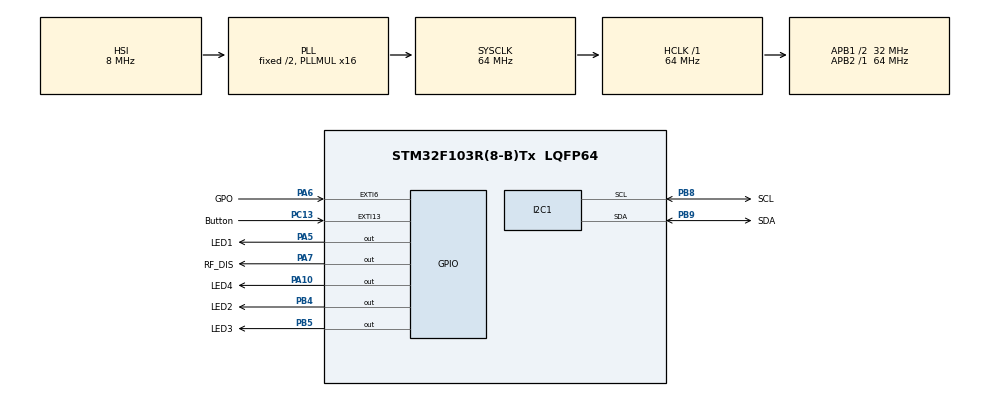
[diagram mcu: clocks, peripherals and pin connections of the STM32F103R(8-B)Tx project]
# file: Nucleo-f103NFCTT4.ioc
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I2C1.I2C_Mode=I2C_Fast
Mcu.Family=STM32F1
Mcu.Name=STM32F103R(8-B)Tx
Mcu.Package=LQFP64
NVIC.EXTI15_10_IRQn=true\:0\:0\:false\:false\:true\:true
NVIC.EXTI9_5_IRQn=true\:3\:0\:true\:false\:true\:true
NVIC.PriorityGroup=NVIC_PRIORITYGROUP_4
NVIC.TIM3_IRQn=true\:0\:0\:false\:false\:true\:true
PA10.GPIO_Label=LED4
PA10.Signal=GPIO_Output
PA13.Mode=JTAG_4_pins
PA13.Signal=SYS_JTMS-SWDIO
PA14.Mode=JTAG_4_pins
PA14.Signal=SYS_JTCK-SWCLK
PA15.Mode=JTAG_4_pins
PA15.Signal=SYS_JTDI
PA5.GPIO_Label=LED1
PA5.Signal=GPIO_Output
PA6.GPIO_Label=GPO
PA6.GPIO_ModeDefaultEXTI=GPIO_MODE_IT_FALLING
PA6.Signal=GPXTI6
PA7.GPIO_Label=RF_DIS
PA7.Signal=GPIO_Output
PB3.Mode=JTAG_4_pins
PB3.Signal=SYS_JTDO-TRACESWO
PB4.GPIO_Label=LED2
PB4.Signal=GPIO_Output
PB5.GPIO_Label=LED3
PB5.Signal=GPIO_Output
PB8.GPIO_Label=SCL
PB8.Mode=I2C
PB8.Signal=I2C1_SCL
PB9.GPIO_Label=SDA
PB9.Mode=I2C
PB9.Signal=I2C1_SDA
PC13-TAMPER-RTC.GPIO_Label=Button
PC13-TAMPER-RTC.Signal=GPXTI13
ProjectManager.HeapSize=0x200
ProjectManager.StackSize=0x400
ProjectManager.TargetToolchain=SW4STM32
RCC.AHBFreq_Value=64000000
RCC.APB1CLKDivider=RCC_HCLK_DIV2
RCC.APB1Freq_Value=32000000
RCC.APB1TimFreq_Value=64000000
RCC.APB2Freq_Value=64000000
RCC.APB2TimFreq_Value=64000000
RCC.HCLKFreq_Value=64000000
RCC.PLLMUL=RCC_PLL_MUL16
RCC.SYSCLKFreq_VALUE=64000000
RCC.SYSCLKSource=RCC_SYSCLKSOURCE_PLLCLK
RCC.USBFreq_Value=64000000
TIM3.Period=1999
TIM3.Prescaler=9999
VP_TIM3_VS_ClockSourceITR.Mode=TriggerSource_ITR2
board=Nucleo-f103NFCTT4

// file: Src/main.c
/**
  ******************************************************************************
  * File Name          : main.c
  * Description        : Main program body
  ******************************************************************************
  ** This notice applies to any and all portions of this file
  * that are not between comment pairs USER CODE BEGIN and
  * USER CODE END. Other portions of this file, whether
  * inserted by the user or by software development tools
  * are owned by their respective copyright owners.
  *
  * COPYRIGHT(c) 2017 STMicroelectronics
  *
  * Redistribution and use in source and binary forms, with or without modification,
  * are permitted provided that the following conditions are met:
  *   1. Redistributions of source code must retain the above copyright notice,
  *      this list of conditions and the following disclaimer.
  *   2. Redistributions in binary form must reproduce the above copyright notice,
  *      this list of conditions and the following disclaimer in the documentation
  *      and/or other materials provided with the distribution.
  *   3. Neither the name of STMicroelectronics nor the names of its contributors
  *      may be used to endorse or promote products derived from this software
  *      without specific prior written permission.
  *
  * THIS SOFTWARE IS PROVIDED BY THE COPYRIGHT HOLDERS AND CONTRIBUTORS "AS IS"
  * AND ANY EXPRESS OR IMPLIED WARRANTIES, INCLUDING, BUT NOT LIMITED TO, THE
  * IMPLIED WARRANTIES OF MERCHANTABILITY AND FITNESS FOR A PARTICULAR PURPOSE ARE
  * DISCLAIMED. IN NO EVENT SHALL THE COPYRIGHT HOLDER OR CONTRIBUTORS BE LIABLE
  * FOR ANY DIRECT, INDIRECT, INCIDENTAL, SPECIAL, EXEMPLARY, OR CONSEQUENTIAL
  * DAMAGES (INCLUDING, BUT NOT LIMITED TO, PROCUREMENT OF SUBSTITUTE GOODS OR
  * SERVICES; LOSS OF USE, DATA, OR PROFITS; OR BUSINESS INTERRUPTION) HOWEVER
  * CAUSED AND ON ANY THEORY OF LIABILITY, WHETHER IN CONTRACT, STRICT LIABILITY,
  * OR TORT (INCLUDING NEGLIGENCE OR OTHERWISE) ARISING IN ANY WAY OUT OF THE USE
  * OF THIS SOFTWARE, EVEN IF ADVISED OF THE POSSIBILITY OF SUCH DAMAGE.
  *
  ******************************************************************************
  */

#include "main.h"
#include "stm32f1xx_hal.h"

I2C_HandleTypeDef hi2c1;

TIM_HandleTypeDef htim3;

/* USER CODE BEGIN PV */
/* Private variables ---------------------------------------------------------*/
extern uint8_t uSynchroMode;
extern uint8_t GPO_Low;
uint16_t counter;
uint16_t last_count;
uint16_t led_effect;
sURI_Info URI;
sAARInfo App;
sSMSInfo sms;
sGeoInfo geo;
/* USER CODE END PV */

void SystemClock_Config(void);
static void MX_GPIO_Init(void);
static void MX_I2C1_Init(void);
static void MX_TIM3_Init(void);

/* USER CODE BEGIN PFP */
/* Private function prototypes -----------------------------------------------*/
void M24SR_I2CInit(void);
void HAL_GPIO_EXTI_Callback(uint16_t GPIO_Pin);
void M24SR_Program(uint16_t counter);
void HAL_TIM_PeriodElapsedCallback(TIM_HandleTypeDef *htim);
/* USER CODE END PFP */

int main(void)
{

  /* MCU Configuration----------------------------------------------------------*/

  /* Reset of all peripherals, Initializes the Flash interface and the Systick. */
  HAL_Init();

  /* Configure the system clock */
  SystemClock_Config();

  /* Initialize all configured peripherals */
  MX_GPIO_Init();
  MX_I2C1_Init();
  MX_TIM3_Init();

  /* USER CODE BEGIN 2 */
  HAL_TIM_Base_Start_IT(&htim3);

  while (TT4_Init() != SUCCESS);

  counter=0;
  last_count=-1;
  led_effect=0;

  /* USER CODE END 2 */

  /* Infinite loop */
  /* USER CODE BEGIN WHILE */
  while (1)
  {
	  if(counter!=last_count){
		  HAL_GPIO_TogglePin(LED1_GPIO_Port,LED1_Pin);
		  last_count=counter;
		  M24SR_Program(counter);
	  }
  /* USER CODE END WHILE */

  }

}

/** System Clock Configuration
*/
void SystemClock_Config(void)
{

  RCC_OscInitTypeDef RCC_OscInitStruct;
  RCC_ClkInitTypeDef RCC_ClkInitStruct;

    /**Initializes the CPU, AHB and APB busses clocks
    */
  RCC_OscInitStruct.OscillatorType = RCC_OSCILLATORTYPE_HSI;
  RCC_OscInitStruct.HSIState = RCC_HSI_ON;
  RCC_OscInitStruct.HSICalibrationValue = 16;
  RCC_OscInitStruct.PLL.PLLState = RCC_PLL_ON;
  RCC_OscInitStruct.PLL.PLLSource = RCC_PLLSOURCE_HSI_DIV2;
  RCC_OscInitStruct.PLL.PLLMUL = RCC_PLL_MUL16;
  if (HAL_RCC_OscConfig(&RCC_OscInitStruct) != HAL_OK)
  {
    _Error_Handler(__FILE__, __LINE__);
  }

    /**Initializes the CPU, AHB and APB busses clocks
    */
  RCC_ClkInitStruct.ClockType = RCC_CLOCKTYPE_HCLK|RCC_CLOCKTYPE_SYSCLK
                              |RCC_CLOCKTYPE_PCLK1|RCC_CLOCKTYPE_PCLK2;
  RCC_ClkInitStruct.SYSCLKSource = RCC_SYSCLKSOURCE_PLLCLK;
  RCC_ClkInitStruct.AHBCLKDivider = RCC_SYSCLK_DIV1;
  RCC_ClkInitStruct.APB1CLKDivider = RCC_HCLK_DIV2;
  RCC_ClkInitStruct.APB2CLKDivider = RCC_HCLK_DIV1;

  if (HAL_RCC_ClockConfig(&RCC_ClkInitStruct, FLASH_LATENCY_2) != HAL_OK)
  {
    _Error_Handler(__FILE__, __LINE__);
  }

    /**Configure the Systick interrupt time
    */
  HAL_SYSTICK_Config(HAL_RCC_GetHCLKFreq()/1000);

    /**Configure the Systick
    */
  HAL_SYSTICK_CLKSourceConfig(SYSTICK_CLKSOURCE_HCLK);

  /* SysTick_IRQn interrupt configuration */
  HAL_NVIC_SetPriority(SysTick_IRQn, 0, 0);
}

/* I2C1 init function */
static void MX_I2C1_Init(void)
{

  hi2c1.Instance = I2C1;
  hi2c1.Init.ClockSpeed = 400000;
  hi2c1.Init.DutyCycle = I2C_DUTYCYCLE_2;
  hi2c1.Init.OwnAddress1 = 0;
  hi2c1.Init.AddressingMode = I2C_ADDRESSINGMODE_7BIT;
  hi2c1.Init.DualAddressMode = I2C_DUALADDRESS_DISABLE;
  hi2c1.Init.OwnAddress2 = 0;
  hi2c1.Init.GeneralCallMode = I2C_GENERALCALL_DISABLE;
  hi2c1.Init.NoStretchMode = I2C_NOSTRETCH_DISABLE;
  if (HAL_I2C_Init(&hi2c1) != HAL_OK)
  {
    _Error_Handler(__FILE__, __LINE__);
  }

}

/* TIM3 init function */
static void MX_TIM3_Init(void)
{

  TIM_SlaveConfigTypeDef sSlaveConfig;
  TIM_MasterConfigTypeDef sMasterConfig;

  htim3.Instance = TIM3;
  htim3.Init.Prescaler = 9999;
  htim3.Init.CounterMode = TIM_COUNTERMODE_UP;
  htim3.Init.Period = 1999;
  htim3.Init.ClockDivision = TIM_CLOCKDIVISION_DIV1;
  htim3.Init.AutoReloadPreload = TIM_AUTORELOAD_PRELOAD_DISABLE;
  if (HAL_TIM_Base_Init(&htim3) != HAL_OK)
  {
    _Error_Handler(__FILE__, __LINE__);
  }

  sSlaveConfig.SlaveMode = TIM_SLAVEMODE_DISABLE;
  sSlaveConfig.InputTrigger = TIM_TS_ITR2;
  if (HAL_TIM_SlaveConfigSynchronization(&htim3, &sSlaveConfig) != HAL_OK)
  {
    _Error_Handler(__FILE__, __LINE__);
  }

  sMasterConfig.MasterOutputTrigger = TIM_TRGO_RESET;
  sMasterConfig.MasterSlaveMode = TIM_MASTERSLAVEMODE_DISABLE;
  if (HAL_TIMEx_MasterConfigSynchronization(&htim3, &sMasterConfig) != HAL_OK)
  {
    _Error_Handler(__FILE__, __LINE__);
  }

}

/** Configure pins as
        * Analog
        * Input
        * Output
        * EVENT_OUT
        * EXTI
*/
static void MX_GPIO_Init(void)
{

  GPIO_InitTypeDef GPIO_InitStruct;

  /* GPIO Ports Clock Enable */
  __HAL_RCC_GPIOC_CLK_ENABLE();
  __HAL_RCC_GPIOA_CLK_ENABLE();
  __HAL_RCC_GPIOB_CLK_ENABLE();

  /*Configure GPIO pin Output Level */
  HAL_GPIO_WritePin(GPIOA, LED1_Pin|RF_DIS_Pin|LED4_Pin, GPIO_PIN_RESET);

  /*Configure GPIO pin Output Level */
  HAL_GPIO_WritePin(GPIOB, LED2_Pin|LED3_Pin, GPIO_PIN_RESET);

  /*Configure GPIO pin : Button_Pin */
  GPIO_InitStruct.Pin = Button_Pin;
  GPIO_InitStruct.Mode = GPIO_MODE_IT_RISING;
  GPIO_InitStruct.Pull = GPIO_NOPULL;
  HAL_GPIO_Init(Button_GPIO_Port, &GPIO_InitStruct);

  /*Configure GPIO pins : LED1_Pin RF_DIS_Pin LED4_Pin */
  GPIO_InitStruct.Pin = LED1_Pin|RF_DIS_Pin|LED4_Pin;
  GPIO_InitStruct.Mode = GPIO_MODE_OUTPUT_PP;
  GPIO_InitStruct.Speed = GPIO_SPEED_FREQ_LOW;
  HAL_GPIO_Init(GPIOA, &GPIO_InitStruct);

  /*Configure GPIO pin : GPO_Pin */
  GPIO_InitStruct.Pin = GPO_Pin;
  GPIO_InitStruct.Mode = GPIO_MODE_IT_FALLING;
  GPIO_InitStruct.Pull = GPIO_NOPULL;
  HAL_GPIO_Init(GPO_GPIO_Port, &GPIO_InitStruct);

  /*Configure GPIO pins : LED2_Pin LED3_Pin */
  GPIO_InitStruct.Pin = LED2_Pin|LED3_Pin;
  GPIO_InitStruct.Mode = GPIO_MODE_OUTPUT_PP;
  GPIO_InitStruct.Speed = GPIO_SPEED_FREQ_LOW;
  HAL_GPIO_Init(GPIOB, &GPIO_InitStruct);

  /* EXTI interrupt init*/
  HAL_NVIC_SetPriority(EXTI9_5_IRQn, 3, 0);
  HAL_NVIC_EnableIRQ(EXTI9_5_IRQn);

  HAL_NVIC_SetPriority(EXTI15_10_IRQn, 0, 0);
  HAL_NVIC_EnableIRQ(EXTI15_10_IRQn);

}

/* USER CODE BEGIN 4 */
void M24SR_I2CInit (){

	if( hi2c1.Instance == M24SR_I2C)
		  HAL_I2C_DeInit(&hi2c1);

	I2C1_FORCE_RESET();
	HAL_Delay(1000);
	I2C1_RELEASE_RESET();
	HAL_GPIO_DeInit(SCL_GPIO_Port, SCL_Pin);
	HAL_GPIO_DeInit(SDA_GPIO_Port, SDA_Pin);
	__HAL_AFIO_REMAP_I2C1_DISABLE();

	GPIO_InitTypeDef  GPIO_InitStruct;
	I2Cx_SCL_GPIO_CLK_ENABLE();
	I2Cx_SDA_GPIO_CLK_ENABLE();
	__HAL_RCC_AFIO_CLK_ENABLE();
	I2Cx_CLK_ENABLE();
	GPIO_InitStruct.Pin       = SCL_Pin;
	GPIO_InitStruct.Mode      = GPIO_MODE_AF_OD;
	GPIO_InitStruct.Pull      = GPIO_PULLUP;
	GPIO_InitStruct.Speed     = GPIO_SPEED_HIGH;
	HAL_GPIO_Init(SCL_GPIO_Port, &GPIO_InitStruct);
	GPIO_InitStruct.Pin		  = SDA_Pin;
	GPIO_InitStruct.Mode      = GPIO_MODE_AF_OD;
	GPIO_InitStruct.Pull      = GPIO_PULLUP;
	GPIO_InitStruct.Speed     = GPIO_SPEED_HIGH;
	HAL_GPIO_Init(SDA_GPIO_Port, &GPIO_InitStruct);
	__HAL_AFIO_REMAP_I2C1_ENABLE();

	hi2c1.Instance 	     = M24SR_I2C;
	hi2c1.Init.AddressingMode  = I2C_ADDRESSINGMODE_7BIT;
	#if defined (STM32F302x8)
	  hi2c1.Init.DualAddressMode = I2C_DUALADDRESS_DISABLE;
	  hi2c1.Init.GeneralCallMode = I2C_GENERALCALL_DISABLE;
	  hi2c1.Init.NoStretchMode   = I2C_NOSTRETCH_DISABLE;
	#elif defined (STM32F401xE)
	  hi2c1.Init.DualAddressMode = I2C_DUALADDRESS_DISABLED;
	  hi2c1.Init.GeneralCallMode = I2C_GENERALCALL_DISABLED;
	  hi2c1.Init.NoStretchMode   = I2C_NOSTRETCH_DISABLED;
	#endif
	  hi2c1.Init.OwnAddress1     = 0;
	  hi2c1.Init.OwnAddress2     = 0;
	#if (defined USE_STM32F4XX_NUCLEO) || (defined USE_STM32L1XX_NUCLEO) || \
		  (defined USE_STM32F1XX_NUCLEO)
	  hi2c1.Init.ClockSpeed      = M24SR_I2C_SPEED;
	  hi2c1.Init.DutyCycle       = I2C_DUTYCYCLE_2;
	#elif (defined USE_STM32F0XX_NUCLEO) || (defined USE_STM32L0XX_NUCLEO) || \
	      (defined USE_STM32F3XX_NUCLEO) || (defined USE_STM32L4XX_NUCLEO)
	  hi2c1.Init.Timing          = M24SR_I2C_SPEED;
	#endif
	if(HAL_I2C_Init(&hi2c1) != HAL_OK)
	{
	    /* Initialization Error */
	    Error_Handler();
	}
	HAL_Delay(100);

}
/**
  * @brief  This function retrieve current tick
  * @param	ptickstart: pointer on a variable to store current tick value
  */

void M24SR_WaitMs(uint32_t time_ms)
{
	wait_ms(time_ms);
}

void M24SR_GetTick( uint32_t *ptickstart )
{
	*ptickstart = HAL_GetTick();
}
/**
  * @brief  This function read the state of the M24SR GPO
	* @param	none
  * @retval GPIO_PinState : state of the M24SR GPO
  */
void M24SR_GPO_ReadPin( GPIO_PinState * pPinState)
{
	*pPinState = HAL_GPIO_ReadPin(M24SR_GPO_PIN_PORT,M24SR_GPO_PIN);
}

/**
  * @brief  This function set the state of the M24SR RF disable pin
	* @param	PinState: put RF disable pin of M24SR in PinState (1 or 0)
  */
void M24SR_RFDIS_WritePin( GPIO_PinState PinState)
{
	HAL_GPIO_WritePin(M24SR_RFDIS_PIN_PORT,M24SR_RFDIS_PIN,PinState);
}

void HAL_GPIO_EXTI_Callback(uint16_t GPIO_Pin)
{
	if(GPIO_Pin == M24SR_GPO_PIN)
	{
		if( uSynchroMode == M24SR_INTERRUPT_GPO)
			GPO_Low = 1;
	}
	if(GPIO_Pin == Button_Pin){
		counter++;
		if(counter >= 4){
			counter = 0;
		}
	}
}

void M24SR_Program(uint16_t counter){
	switch(counter){
	case 0:
		strcpy(URI.protocol,URI_ID_0x01_STRING);
		strcpy(URI.URI_Message,"pssite.com");
		strcpy(URI.Information,"\0");
		while (TT4_WriteURI(&URI) != SUCCESS);
		break;
	case 1:
		strcpy(App.PakageName,"com.sonyericsson.music");
		while (TT4_AddAAR(&App)!=SUCCESS);
		break;
	case 2:
		strcpy(geo.Latitude,"50.026596");
		strcpy(geo.Longitude,"21.984825");
		strcpy(geo.Information,"\0");
		while(TT4_WriteGeo(&geo) != SUCCESS);
		break;
	case 3:
		strcpy(sms.Message,"Hello World");
		strcpy(sms.PhoneNumber,"792 240 994");
		strcpy(sms.Information,"\0");
		while(TT4_WriteSMS(&sms) != SUCCESS);
		break;
	default:
		counter=0;
		break;
	}
}

void HAL_TIM_PeriodElapsedCallback(TIM_HandleTypeDef *htim){
	if(htim->Instance == TIM3){
		switch(led_effect){
		case 0:
			HAL_GPIO_TogglePin(LED2_GPIO_Port,LED2_Pin);
			HAL_GPIO_TogglePin(LED3_GPIO_Port,LED3_Pin);
			led_effect++;
			break;
		case 1:
			HAL_GPIO_TogglePin(LED2_GPIO_Port,LED2_Pin);
			HAL_GPIO_TogglePin(LED4_GPIO_Port,LED4_Pin);
			led_effect++;
			break;
		case 2:
			HAL_GPIO_TogglePin(LED2_GPIO_Port,LED2_Pin);
			HAL_GPIO_TogglePin(LED3_GPIO_Port,LED3_Pin);
			led_effect++;
			break;
		case 3:
			HAL_GPIO_TogglePin(LED2_GPIO_Port,LED2_Pin);
			HAL_GPIO_TogglePin(LED3_GPIO_Port,LED3_Pin);
			HAL_GPIO_TogglePin(LED4_GPIO_Port,LED4_Pin);
			led_effect++;
			break;
		case 4:
			HAL_GPIO_TogglePin(LED2_GPIO_Port,LED2_Pin);
			HAL_GPIO_TogglePin(LED4_GPIO_Port,LED4_Pin);
			led_effect++;
			break;
		case 5:
			HAL_GPIO_TogglePin(LED2_GPIO_Port,LED2_Pin);
			HAL_GPIO_TogglePin(LED3_GPIO_Port,LED3_Pin);
			HAL_GPIO_TogglePin(LED4_GPIO_Port,LED4_Pin);
			led_effect=0;
			break;
		}
	}
}

/* USER CODE END 4 */

void _Error_Handler(char * file, int line)
{
  /* USER CODE BEGIN Error_Handler_Debug */
	HAL_GPIO_TogglePin(LED1_GPIO_Port,LED1_Pin);
  /* User can add his own implementation to report the HAL error return state */
  while(1)
  {
  }
  /* USER CODE END Error_Handler_Debug */
}

/************************ (C) COPYRIGHT STMicroelectronics *****END OF FILE****/
